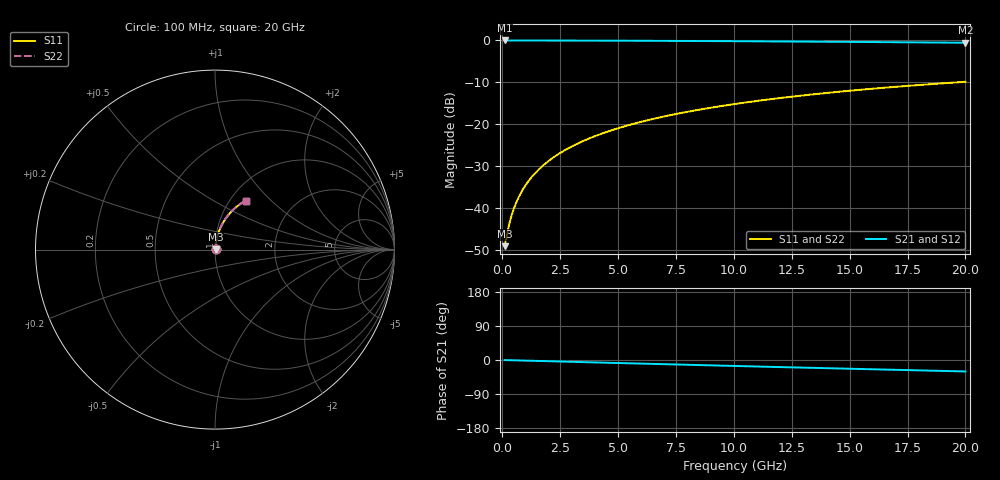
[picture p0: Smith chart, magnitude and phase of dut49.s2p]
! Touchstone file exported from HFSS 2026.1.0
!  File:  C:/ffzhzh/LocalFiles/Ansys_Project_Files/temp_train_BSMRDL_49_1782882514_13352.aedt
!  Generated:  01:09:49 PM Jul  1, 2026
!  Design:  BSMRDL
!  Project:  temp_train_BSMRDL_49_1782882514_13352
! Variables:
!  h_bsmrdl = 3.72um
!  h_ox = 20um
!  h_rdl = 5um
!  h_sub = 80um
!  h_tmrdl = 5um
!  h_tsv = 80um
!  h_via = 3um
!  l_bsmrdl = 404.76um
!  l_sub = 804.76um
!  l_tmrdl = 200um
!  m_sub = 200um
!  pitch = 38.52um
!  r_tsv = 6um
!  s_tmrdl = 10um
!  w_bsmrdl = 13.47um
!  w_sub = 500um
!  w_tmrdl = 12um
!  x_tsv_center1 = 206um
!  x_tsv_center2 = 624.23um
!  x_tsv_center3 = 836.23um
!  x_tsv_center4 = 1254.46um
!  x_tsv_center5 = 1466.46um
!  x_tsv_center6 = 1884.69um
# GHz S MA R 50.000000
! Terminal data exported
! Port[1] = BSM_RDL1_1_T1
! Port[2] = BSM_RDL1_1_T2
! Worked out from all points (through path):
!   200 points, 100 MHz to 20 GHz, reference 50 ohm
!   highest |S21| = -0.03 dB at 100 MHz (marker M1); lowest = -0.6 dB at 20 GHz (marker M2)
!   group delay of S21, straight-line fit = 4.2 ps
!   lowest |S11| = -49.0 dB at 100 MHz (marker M3), VSWR 1.01, Z = 50.3 + j0.194 ohm
!   |S11| at or under -10 dB: start of sweep to 19.63 GHz
!   |S22| runs from -49.0 to -9.9 dB; largest |S21 - S12| = 3.5e-15
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0.1  0.003548 32.9  0.997 -0.2  0.997 -0.2  0.003548 32.9
! Gamma 0 0 0 0
! Port Impedance 50 0 50 0
0.2  0.004897 51.4  0.997 -0.3  0.997 -0.3  0.004897 51.4
0.3  0.006513 61.0  0.9969 -0.5  0.9969 -0.5  0.006513 61.0
0.4  0.008216 66.5  0.9968 -0.7  0.9968 -0.7  0.008216 66.5
0.5  0.009951 70.1  0.9967 -0.8  0.9967 -0.8  0.009951 70.1
0.6  0.0117 72.5  0.9966 -1.0  0.9966 -1.0  0.0117 72.5
0.8  0.01522 75.7  0.9965 -1.3  0.9965 -1.3  0.01522 75.7
1.1  0.02055 78.4  0.9963 -1.8  0.9963 -1.8  0.02055 78.4
1.3  0.02412 79.4  0.9961 -2.1  0.9961 -2.1  0.02412 79.4
1.6  0.0295 80.3  0.9959 -2.6  0.9959 -2.6  0.0295 80.3
2.1  0.03847 80.9  0.9955 -3.4  0.9955 -3.4  0.03847 80.9
2.7  0.04922 81.0  0.9948 -4.3  0.9948 -4.3  0.04922 81.0
3.5  0.06349 80.5  0.9937 -5.6  0.9937 -5.6  0.06349 80.5
4.2  0.07589 79.8  0.9925 -6.7  0.9925 -6.7  0.07589 79.8
5  0.08993 78.8  0.9909 -8.0  0.9909 -8.0  0.08993 78.8
5.9  0.1055 77.6  0.989 -9.4  0.989 -9.4  0.1055 77.6
6.8  0.121 76.4  0.9867 -10.8  0.9867 -10.8  0.121 76.4
8.3  0.1462 74.3  0.9826 -13.1  0.9826 -13.1  0.1462 74.3
10.1  0.1756 71.7  0.977 -15.9  0.977 -15.9  0.1756 71.7
13.4  0.2273 67.0  0.9651 -20.8  0.9651 -20.8  0.2273 67.0
16.7  0.2759 62.4  0.9516 -25.6  0.9516 -25.6  0.2759 62.4
20  0.3211 58.0  0.9368 -30.2  0.9368 -30.2  0.3211 58.0
